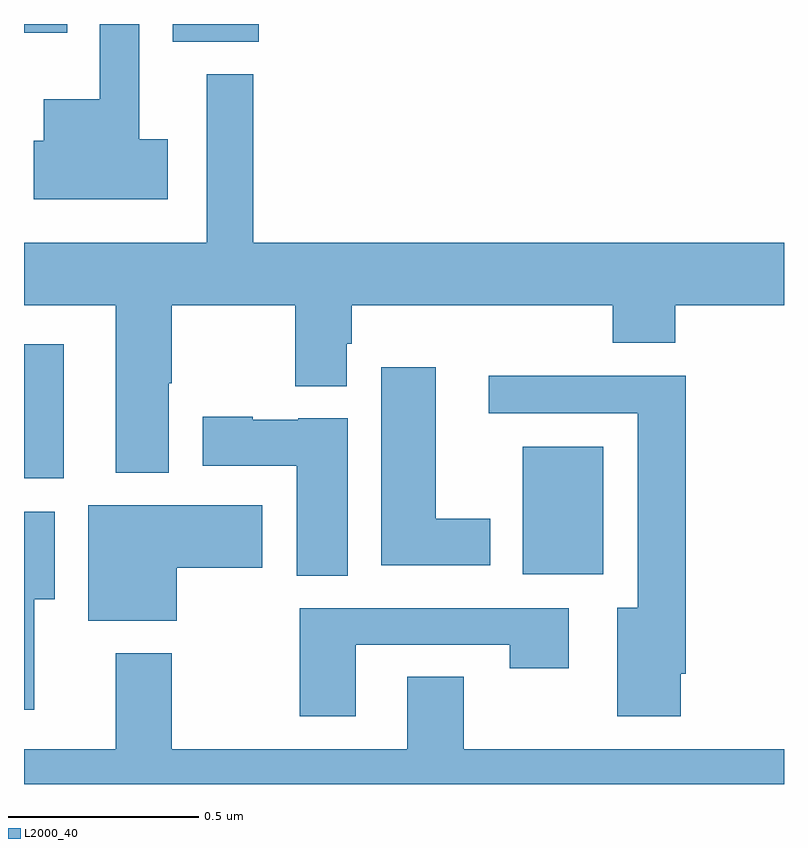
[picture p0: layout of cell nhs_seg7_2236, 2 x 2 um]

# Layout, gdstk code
import gdstk
lib = gdstk.Library(unit=1e-6, precision=1e-09)
def R(c, l, rs):  # rectangles x0, y0, x1, y1
    for r in rs: c.add(gdstk.rectangle(r[:2], r[2:], *l))
def P(c, l, *ps):  # polygons
    for p in ps: c.add(gdstk.Polygon(p, *l))
L2000_40 = (2000, 40)

nhs_seg7_2236 = lib.new_cell('nhs_seg7_2236')
R(nhs_seg7_2236, L2000_40, [(143.312,1022.552,143.524,1022.887), (142,1022.804,142.105,1023.157), (142.391,1023.953,142.618,1024), (142,1023.977,142.114,1024)])
P(nhs_seg7_2236, L2000_40, [(142.378,1023.697),(142.303,1023.697),(142.303,1024),(142.199,1024),(142.199,1023.802),(142.052,1023.802),(142.052,1023.693),(142.025,1023.693),(142.025,1023.539),(142.378,1023.539)],
  [(142.381,1023.055),(142.389,1023.055),(142.389,1023.26),(142.714,1023.26),(142.714,1023.047),(142.849,1023.047),(142.849,1023.159),(142.862,1023.159),(142.862,1023.26),(143.549,1023.26),(143.549,1023.161),(143.714,1023.161),(143.714,1023.26),(144,1023.26),(144,1023.424),(142.603,1023.424),(142.603,1023.868),(142.481,1023.868),(142.481,1023.424),(142,1023.424),(142,1023.26),(142.241,1023.26),(142.241,1022.819),(142.381,1022.819)],
  [(143.227,1022.698),(143.083,1022.698),(143.083,1023.097),(142.94,1023.097),(142.94,1022.576),(143.227,1022.576)],
  [(143.728,1022.29),(143.741,1022.29),(143.741,1023.074),(143.223,1023.074),(143.223,1022.976),(143.615,1022.976),(143.615,1022.464),(143.561,1022.464),(143.561,1022.178),(143.728,1022.178)],
  [(142.852,1022.962),(142.722,1022.962),(142.722,1022.959),(142.602,1022.959),(142.602,1022.967),(142.47,1022.967),(142.47,1022.837),(142.718,1022.837),(142.718,1022.548),(142.852,1022.548)],
  [(142.402,1022.569),(142.627,1022.569),(142.627,1022.734),(142.169,1022.734),(142.169,1022.429),(142.402,1022.429)],
  [(142.027,1022.486),(142.081,1022.486),(142.081,1022.716),(142,1022.716),(142,1022.196),(142.027,1022.196)],
  [(142.873,1022.367),(143.278,1022.367),(143.278,1022.304),(143.434,1022.304),(143.434,1022.463),(142.726,1022.463),(142.726,1022.178),(142.873,1022.178)],
  [(144,1022.092),(143.157,1022.092),(143.157,1022.282),(143.009,1022.282),(143.009,1022.092),(142.389,1022.092),(142.389,1022.344),(142.241,1022.344),(142.241,1022.092),(142,1022.092),(142,1022),(144,1022)])

lib.write_gds('nhs_seg7_2236.gds')
